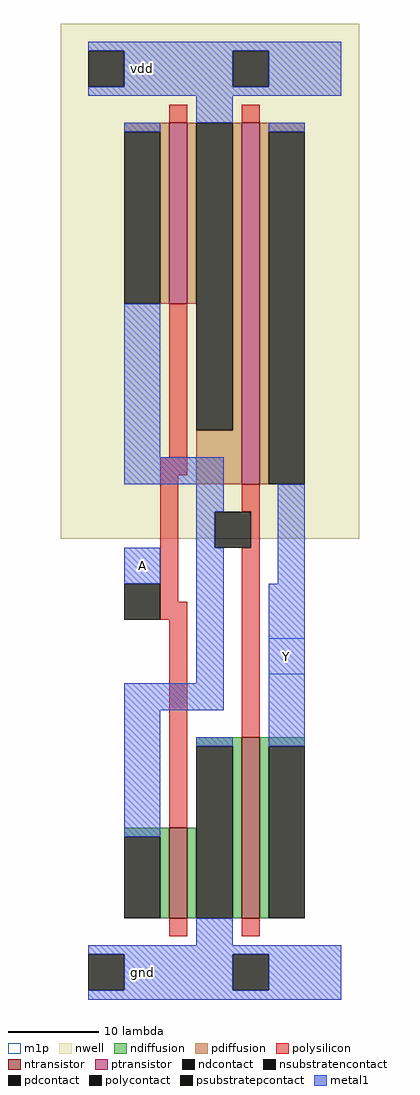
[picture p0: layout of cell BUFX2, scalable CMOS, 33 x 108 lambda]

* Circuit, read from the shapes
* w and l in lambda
.subckt BUFX2 A Y gnd vdd
M1 gnd A n1 gnd nfet w=10 l=2
M2 Y n1 gnd gnd nfet w=20 l=2
M3 vdd A n1 vdd pfet w=20 l=2
M4 Y n1 vdd vdd pfet w=40 l=2
.ends

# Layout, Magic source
magic
tech scmos
<< nwell >>
rect -5 48 28 105
<< ntransistor >>
rect 7 6 9 16
rect 15 6 17 26
<< ptransistor >>
rect 7 74 9 94
rect 15 54 17 94
<< ndiffusion >>
rect 10 25 15 26
rect 2 15 7 16
rect 6 6 7 15
rect 9 6 10 16
rect 14 6 15 25
rect 17 25 22 26
rect 17 6 18 25
<< pdiffusion >>
rect 2 93 7 94
rect 6 74 7 93
rect 9 74 10 94
rect 14 60 15 94
rect 10 54 15 60
rect 17 93 22 94
rect 17 54 18 93
<< ndcontact >>
rect 2 6 6 15
rect 10 6 14 25
rect 18 6 22 25
<< pdcontact >>
rect 2 74 6 93
rect 10 60 14 94
rect 18 54 22 93
<< psubstratepcontact >>
rect -2 -2 2 2
rect 14 -2 18 2
<< nsubstratencontact >>
rect -2 98 2 102
rect 14 98 18 102
<< polysilicon >>
rect 7 94 9 96
rect 15 94 17 96
rect 7 57 9 74
rect 6 55 9 57
rect 6 41 8 55
rect 15 51 17 54
rect 16 47 17 51
rect 6 39 9 41
rect 7 16 9 39
rect 15 26 17 47
rect 7 4 9 6
rect 15 4 17 6
<< polycontact >>
rect 2 39 6 43
rect 12 47 16 51
<< metal1 >>
rect -2 102 26 103
rect 2 98 14 102
rect 18 98 26 102
rect -2 97 26 98
rect 10 94 14 97
rect 2 93 6 94
rect 2 57 6 74
rect 18 93 22 94
rect 2 54 13 57
rect 10 51 13 54
rect 10 47 12 51
rect 2 43 6 47
rect 10 32 13 47
rect 19 43 22 54
rect 2 29 13 32
rect 2 15 6 29
rect 10 25 14 26
rect 18 25 22 43
rect 10 3 14 6
rect -2 2 26 3
rect 2 -2 14 2
rect 18 -2 26 2
rect -2 -3 26 -2
<< m1p >>
rect 2 43 6 47
rect 18 33 22 37
<< labels >>
rlabel metal1 4 100 4 100 4 vdd
rlabel metal1 4 0 4 0 4 gnd
rlabel metal1 4 45 4 45 4 A
rlabel metal1 20 35 20 35 4 Y
<< end >>
